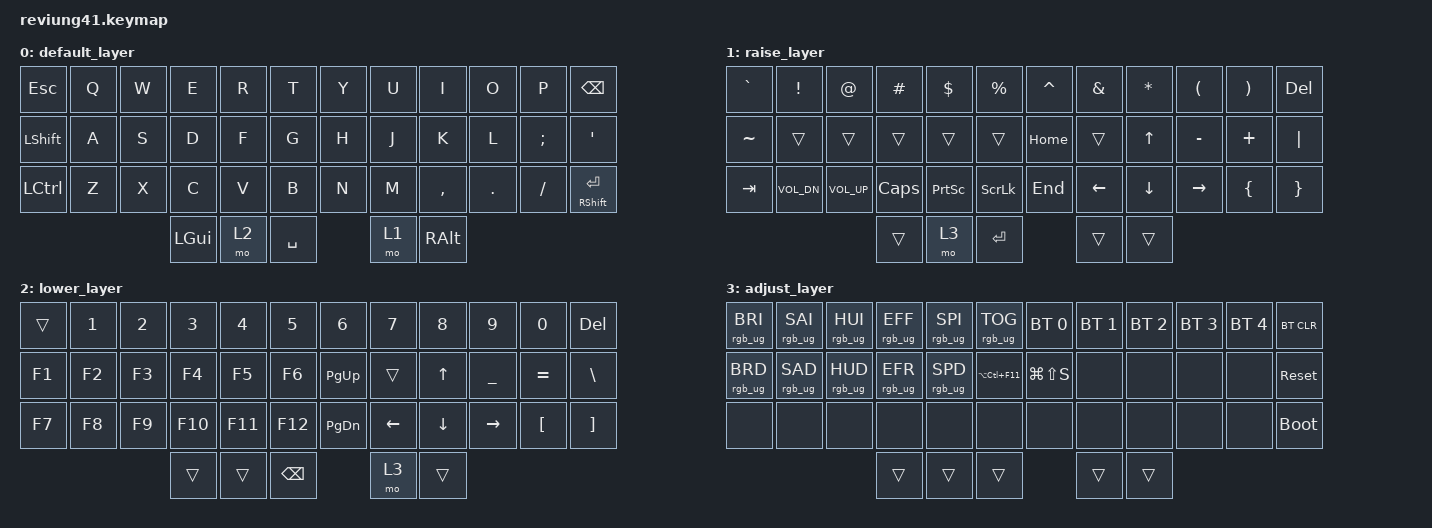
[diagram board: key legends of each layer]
/*
 * Copyright (c) 2020 The ZMK Contributors
 *
 * SPDX-License-Identifier: MIT
 */

#include <behaviors.dtsi>
#include <dt-bindings/zmk/keys.h>
#include <dt-bindings/zmk/bt.h>
#include <dt-bindings/zmk/rgb.h>

/ {
        keymap {
                compatible = "zmk,keymap";

                default_layer {
// -------------------------------------------------------------------------------
// |  ESC |  Q  |  W  |  E  |  R  |  T  |||||  Y  |  U  |  I  |  O  |  P  | BKSP |
// | SHFT |  A  |  S  |  D  |  F  |  G  |||||  H  |  J  |  K  |  L  |  ;  |  '   |
// | CTRL |  Z  |  X  |  C  |  V  |  B  |||||  N  |  M  |  ,  |  .  |  /  | ^RET |
//                         | GUI | LWR | SPC | RSE | ALT |
                        bindings = <
   &kp ESC    &kp Q  &kp W  &kp E  &kp R  &kp T      &kp Y  &kp U  &kp I      &kp O    &kp P     &kp BSPC
   &kp LSHFT  &kp A  &kp S  &kp D  &kp F  &kp G      &kp H  &kp J  &kp K      &kp L    &kp SEMI  &kp SQT
   &kp LCTRL  &kp Z  &kp X  &kp C  &kp V  &kp B      &kp N  &kp M  &kp COMMA  &kp DOT  &kp FSLH  &mt RSHFT RET
                         &kp LGUI    &mo 2    &kp SPACE    &mo 1     &kp RALT
                        >;
                };

                raise_layer {
// ----------------------------------------------------------------------------
// | `  |  !  |  @  |  #  |  $  |  %  |||||  ^  |  &  |  *  |  (  |  )  | DEL |
// | ~  |     |     |     |     |     ||||| HOME|     |  UP |  -  |  +  | "|" |
// | TAB|VOL- |VOL+ |CAPS |PRINT|SCRL ||||| END | LFT | DWN | RGT |  {  |  }  |
//                       |     |     | RET | ADJ |     |
                        bindings = <
   &kp GRAVE  &kp EXCL      &kp AT        &kp HASH  &kp DLLR   &kp PRCNT         &kp CARET  &kp AMPS  &kp ASTRK  &kp LPAR   &kp RPAR  &kp DEL
   &kp TILDE  &trans        &trans        &trans    &trans     &trans            &kp HOME   &trans    &kp UP     &kp MINUS  &kp PLUS  &kp PIPE
   &kp TAB    &kp C_VOL_DN  &kp C_VOL_UP  &kp CLCK  &kp PSCRN  &kp SLCK          &kp END    &kp LEFT  &kp DOWN   &kp RIGHT  &kp LBRC  &kp RBRC
                                                &trans      &mo 3       &kp RET        &trans       &trans
                        >;
                };

                lower_layer {
// -----------------------------------------------------------------------------
// |     |  1  |  2  |  3  |  4  |  5  |||||  6  |  7  |  8  |  9  |  0  | DEL |
// | F1  | F2  | F3  | F4  | F5  | F6  ||||| PUP |     | UP  |  _  |  =  |  \  |
// | F7  | F8  | F9  | F10 | F11 | F12 ||||| PDN | LFT | DWN | RGT |  [  |  ]  |
//                       |     | ADJ | BKSPC |     |     |
                        bindings = <
   &trans  &kp N1  &kp N2  &kp N3   &kp N4   &kp N5          &kp N6     &kp N7    &kp N8    &kp N9     &kp N0     &kp DEL
   &kp F1  &kp F2  &kp F3  &kp F4   &kp F5   &kp F6          &kp PG_UP  &trans    &kp UP    &kp UNDER  &kp EQUAL  &kp BSLH
   &kp F7  &kp F8  &kp F9  &kp F10  &kp F11  &kp F12         &kp PG_DN  &kp LEFT  &kp DOWN  &kp RIGHT  &kp LBKT   &kp RBKT
                            &trans      &trans       &kp BSPC        &mo 3      &trans
                        >;
                };

                adjust_layer {
// ------------------------------------------------------------------------------------------
// | BRI+ | SAT+ | HUE+ | ANI+ | SPD+ | RGBTOG |||||  BT01  | BT2 | BT3 | BT4 | BT5 | BTCLR |
// | BRI- | SAT- | HUE- | ANI- | SPD- | SNDTOG |||||  SNIP  |     |     |     |     | RESET |
// |      |      |      |      |      |        |||||        |     |     |     |     | BOOTL |
//                                |     |     |     |     |     |
                        bindings = <
   &rgb_ug  RGB_BRI  &rgb_ug RGB_SAI  &rgb_ug RGB_HUI  &rgb_ug RGB_EFF  &rgb_ug RGB_SPI  &rgb_ug RGB_TOG     &bt BT_SEL 0   &bt BT_SEL 1  &bt BT_SEL 2  &bt BT_SEL 3  &bt BT_SEL 4  &bt BT_CLR
   &rgb_ug  RGB_BRD  &rgb_ug RGB_SAD  &rgb_ug RGB_HUD  &rgb_ug RGB_EFR  &rgb_ug RGB_SPD  &kp LA(LC(F11))     &kp LG(LS(S))  &none         &none         &none         &none         &sys_reset
   &none             &none            &none            &none            &none            &none               &none          &none         &none         &none         &none         &bootloader
                                                                              &trans      &trans       &trans        &trans      &trans
                        >;
                };
        };
};
